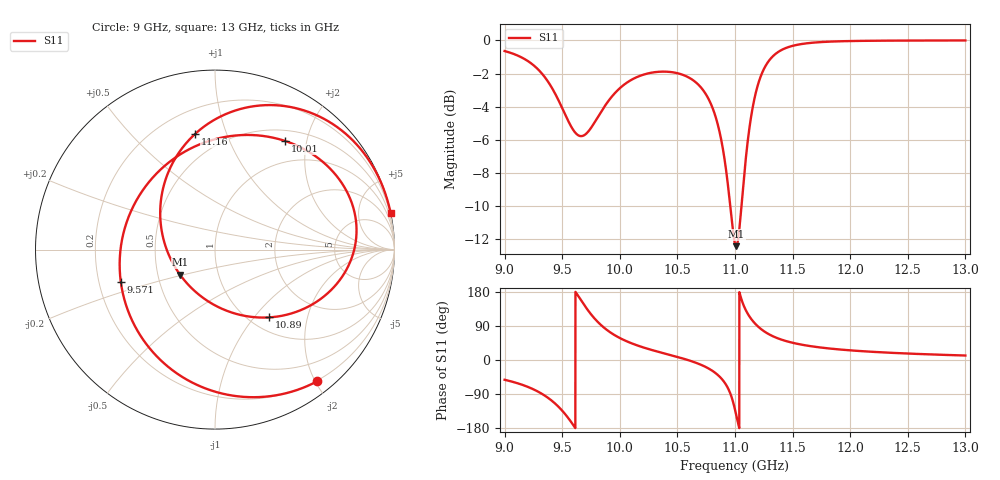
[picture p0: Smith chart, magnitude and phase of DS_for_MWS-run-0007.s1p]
! TOUCHSTONE file generated by CST DESIGN STUDIO
! Date and time: Tue Feb  4 16:44:48 2025
! Project name: C:\Work\MatlabApps\UnitCellOptimizationMatlab\CST\unitcell.cst
! Tree item: Tasks\Sweep1\SPara1\S-Parameters
! Header version: 2024
! Port assignment regex: !\s*Touchstone port\s*([0-9]+)\s*=\s*(CST MWS port|CST DES external port|CST DES block port)\s*(.+)\s* \(\"(.*)\"\)(\s*mode\s*([0-9]+))?.*
! Touchstone port assignment:
! Touchstone port 1 = CST DES external port 1 ("")
# GHz S MA R 50
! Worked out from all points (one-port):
!   4001 points, 9 GHz to 13 GHz, reference 50 ohm
!   lowest |S11| = -12.4 dB at 11.01 GHz (marker M1), VSWR 1.63, Z = 32.6 - j9.65 ohm
!   |S11| at or under -10 dB: 10.96 GHz to 11.06 GHz (96.78 MHz wide, 0.879 % of centre)
!   S11 on the Smith chart (normalised r, x): 9 GHz: 0.19, -2.03; 9.571 GHz: 0.29, -0.15; 10.01 GHz: 0.65, +1.64; 10.89 GHz: 1.22, -1.20; 11.16 GHz: 0.35, +0.78; 13 GHz: 0.01, +9.65
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9  0.9289 -52.2
9.159  0.8844 -66.1
9.31  0.8046 -86.8
9.409  0.721 -107.3
9.5  0.6251 -133.7
9.571  0.5554 -160.8
9.664  0.5145 157.3
9.78  0.5653 109.8
9.878  0.6401 81.6
10  0.7176 58.0
10.005  0.7202 57.2
10.228  0.7927 30.9
10.5  0.7965 8.1
10.73  0.7028 -16.1
10.814  0.614 -30.7
10.889  0.4837 -51.3
10.948  0.3432 -80.2
11  0.2434 -131.0
11.01  0.2397 -144.4
11.082  0.4002 139.1
11.163  0.6531 99.9
11.277  0.8509 71.0
11.378  0.9245 56.5
11.5  0.963 45.5
11.703  0.9862 34.5
12  0.9957 25.5
12.5  0.999 17.0
13  0.9997 11.8
